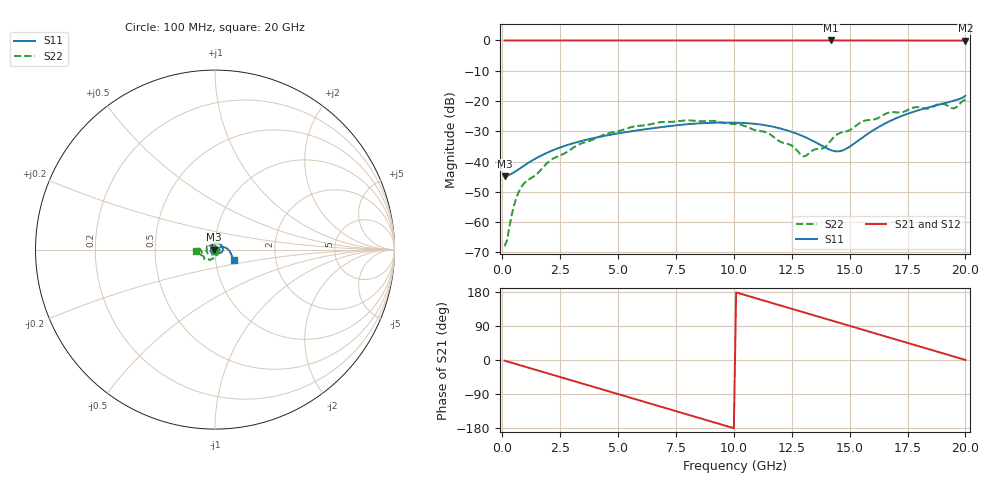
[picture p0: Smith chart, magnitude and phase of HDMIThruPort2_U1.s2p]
! File created by SignalIntegrity v1.1.13: Signal and Power Integrity Tools
! https://github.com/TeledyneLeCroy/SignalIntegrity
# MHz S MA R 50.0
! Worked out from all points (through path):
!   200 points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, 100 MHz to 20 GHz, reference 50 ohm
!   highest |S21| = 0.01 dB at 14.2 GHz (marker M1); lowest = -0.1 dB at 20 GHz (marker M2)
!   group delay of S21, straight-line fit = 50 ps
!   lowest |S11| = -44.9 dB at 100 MHz (marker M3), VSWR 1.01, Z = 49.4 - j0.0445 ohm
!   |S11| at or under -10 dB: start of sweep to end of sweep
!   |S22| runs from -68.0 to -19.7 dB; largest |S21 - S12| = 0.0014
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100  0.005675 -175.4  1 -1.8  1 -1.8  0.0004 -30.0
200  0.005787 -171.1  1 -3.6  1 -3.6  0.000497 -65.0
500  0.006611 -160.9  1 -9.0  1 -9.0  0.00185 -99.4
900  0.008357 -154.9  0.9998 -16.2  0.9996 -16.2  0.004175 -88.3
2100  0.01489 -165.9  1 -37.8  1 -37.8  0.01063 -91.0
3500  0.02228 164.6  0.9994 -63.0  0.9991 -63.0  0.02042 -101.0
5100  0.0296 123.4  0.9998 -91.8  1 -91.8  0.03245 -122.4
6800  0.03675 78.6  0.9997 -122.5  0.9998 -122.5  0.04455 -148.4
8500  0.04277 36.3  0.9987 -153.0  0.9981 -153.0  0.04644 -177.1
10100  0.04383 1.6  0.9992 178.3  0.9994 178.3  0.0415 150.8
11500  0.0389 -24.1  0.9997 153.0  1 152.9  0.02911 118.5
12500  0.03092 -37.8  0.9997 135.0  0.9998 135.1  0.01838 77.2
13000  0.02611 -41.4  0.9994 126.0  0.9985 126.0  0.01222 40.1
13400  0.02207 -41.2  0.9996 118.7  0.999 118.7  0.01525 3.4
13900  0.01738 -33.8  1.001 109.7  1.001 109.7  0.01687 -29.2
14200  0.01538 -23.8  1.001 104.3  1.002 104.3  0.02244 -50.1
14800  0.01585 4.5  1 93.6  1 93.6  0.03109 -64.8
16700  0.04587 18.2  1 59.4  1.002 59.4  0.06439 -114.8
18500  0.08025 -5.0  0.9974 27.0  0.9981 27.0  0.0768 -153.8
19000  0.09 -12.8  0.9985 18.1  0.9997 18.2  0.09036 -158.6
19500  0.1011 -21.1  0.9959 9.3  0.9956 9.4  0.07541 -171.8
20000  0.1223 -27.7  0.994 0.2  0.9926 0.2  0.104 -174.5
